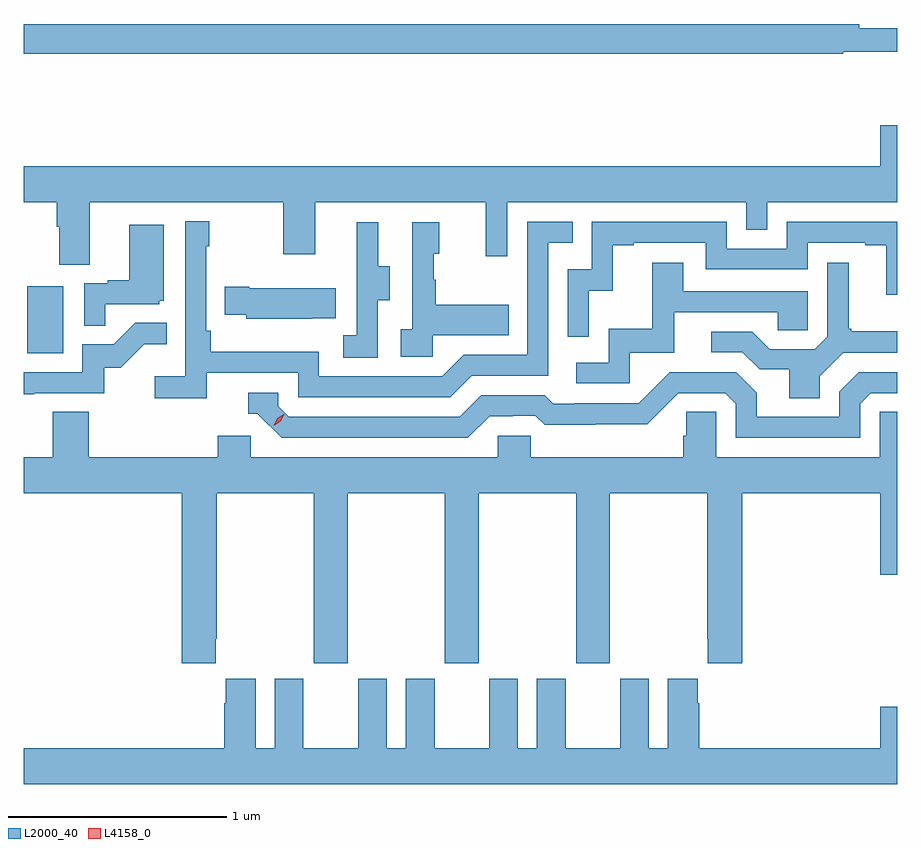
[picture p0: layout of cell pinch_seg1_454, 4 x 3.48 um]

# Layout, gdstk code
import gdstk
lib = gdstk.Library(unit=1e-6, precision=1e-09)
def R(c, l, rs):  # rectangles x0, y0, x1, y1
    for r in rs: c.add(gdstk.rectangle(r[:2], r[2:], *l))
def P(c, l, *ps):  # polygons
    for p in ps: c.add(gdstk.Polygon(p, *l))
L2000_40 = (2000, 40)
L4158_0 = (4158, 0)

pinch_seg1_454 = lib.new_cell('pinch_seg1_454')
R(pinch_seg1_454, L2000_40, [(988.274,512.412,988.438,512.719)])
P(pinch_seg1_454, L2000_40, [(992.011,513.792),(992.258,513.792),(992.258,513.901),(992.084,513.901),(992.084,513.92),(988.258,513.92),(988.258,513.784),(992.011,513.784)],
  [(988.561,513.104),(989.446,513.104),(989.446,512.865),(989.593,512.865),(989.593,513.104),(990.374,513.104),(990.374,512.856),(990.471,512.856),(990.471,513.104),(991.566,513.104),(991.566,512.977),(991.662,512.977),(991.662,513.104),(992.258,513.104),(992.258,513.457),(992.18,513.457),(992.18,513.268),(988.258,513.268),(988.258,513.104),(988.409,513.104),(988.409,512.992),(988.421,512.992),(988.421,512.818),(988.561,512.818)],
  [(989.096,512.322),(989.514,512.322),(989.514,512.211),(990.211,512.211),(990.31,512.31),(990.66,512.31),(990.66,512.919),(990.773,512.919),(990.773,513.015),(990.564,513.015),(990.564,512.406),(990.273,512.406),(990.174,512.307),(989.61,512.307),(989.61,512.419),(989.114,512.419),(989.114,512.515),(989.094,512.515),(989.094,512.903),(989.107,512.903),(989.107,513.016),(988.998,513.016),(988.998,512.308),(988.857,512.308),(988.857,512.206),(989.096,512.206)],
  [(990.846,512.699),(990.956,512.699),(990.956,512.907),(991.051,512.907),(991.051,512.919),(991.38,512.919),(991.38,512.796),(991.848,512.796),(991.848,512.919),(992.111,512.919),(992.111,512.907),(992.207,512.907),(992.207,512.681),(992.258,512.681),(992.258,513.015),(991.752,513.015),(991.752,512.892),(991.476,512.892),(991.476,513.015),(990.858,513.015),(990.858,512.796),(990.75,512.796),(990.75,512.487),(990.846,512.487)],
  [(990.132,512.495),(990.479,512.495),(990.479,512.635),(990.145,512.635),(990.145,512.75),(990.135,512.75),(990.135,512.868),(990.16,512.868),(990.16,513.013),(990.036,513.013),(990.036,512.522),(989.985,512.522),(989.985,512.397),(990.132,512.397)],
  [(989.88,512.656),(989.935,512.656),(989.935,512.811),(989.881,512.811),(989.881,513.013),(989.783,513.013),(989.783,512.799),(989.784,512.799),(989.784,512.495),(989.721,512.495),(989.721,512.392),(989.88,512.392)],
  [(988.631,512.637),(988.878,512.637),(988.878,512.652),(988.9,512.652),(988.9,513.001),(988.742,513.001),(988.742,512.746),(988.643,512.746),(988.643,512.733),(988.536,512.733),(988.536,512.539),(988.631,512.539)],
  [(991.032,512.415),(991.237,512.415),(991.237,512.601),(991.711,512.601),(991.711,512.517),(991.848,512.517),(991.848,512.697),(991.279,512.697),(991.279,512.827),(991.135,512.827),(991.135,512.524),(990.936,512.524),(990.936,512.37),(990.789,512.37),(990.789,512.274),(991.032,512.274)],
  [(991.903,512.308),(992.01,512.415),(992.258,512.415),(992.258,512.512),(992.047,512.512),(992.047,512.524),(992.035,512.524),(992.035,512.827),(991.938,512.827),(991.938,512.487),(991.881,512.43),(991.675,512.43),(991.594,512.511),(991.407,512.511),(991.407,512.418),(991.548,512.418),(991.628,512.338),(991.763,512.338),(991.763,512.206),(991.903,512.206)],
  [(989.579,512.573),(989.687,512.573),(989.687,512.71),(989.29,512.71),(989.29,512.718),(989.179,512.718),(989.179,512.588),(989.277,512.588),(989.277,512.57),(989.579,512.57)],
  [(988.307,512.229),(988.626,512.229),(988.626,512.346),(988.702,512.346),(988.809,512.453),(988.913,512.453),(988.913,512.552),(988.769,512.552),(988.671,512.454),(988.527,512.454),(988.527,512.325),(988.258,512.325),(988.258,512.224),(988.307,512.224)],
  [(990.391,512.124),(990.498,512.124),(990.498,512.127),(990.601,512.127),(990.643,512.085),(990.876,512.085),(990.876,512.087),(991.112,512.087),(991.254,512.229),(991.47,512.229),(991.518,512.181),(991.518,512.025),(992.088,512.025),(992.088,512.181),(992.136,512.229),(992.258,512.229),(992.258,512.325),(992.082,512.325),(991.992,512.235),(991.992,512.121),(991.615,512.121),(991.615,512.231),(991.521,512.325),(991.215,512.325),(991.074,512.184),(990.781,512.184),(990.781,512.181),(990.682,512.181),(990.643,512.22),(990.354,512.22),(990.255,512.121),(989.472,512.121),(989.424,512.169),(989.424,512.232),(989.285,512.232),(989.285,512.136),(989.328,512.136),(989.439,512.025),(990.292,512.025)],
  [(989.137,511.105),(989.142,511.105),(989.142,511.772),(989.587,511.772),(989.587,510.993),(989.742,510.993),(989.742,511.772),(990.187,511.772),(990.187,510.993),(990.342,510.993),(990.342,511.772),(990.787,511.772),(990.787,510.993),(990.942,510.993),(990.942,511.772),(991.387,511.772),(991.387,511.105),(991.391,511.105),(991.391,510.993),(991.547,510.993),(991.547,511.772),(992.18,511.772),(992.18,511.398),(992.258,511.398),(992.258,512.144),(992.178,512.144),(992.178,511.936),(991.428,511.936),(991.428,512.144),(991.291,512.144),(991.291,512.034),(991.277,512.034),(991.277,511.936),(990.579,511.936),(990.579,512.034),(990.429,512.034),(990.429,511.936),(989.298,511.936),(989.298,512.034),(989.147,512.034),(989.147,511.936),(988.556,511.936),(988.556,512.144),(988.391,512.144),(988.391,511.936),(988.258,511.936),(988.258,511.772),(988.982,511.772),(988.982,510.993),(989.137,510.993)],
  [(992.258,510.793),(992.18,510.793),(992.18,510.604),(991.352,510.604),(991.352,510.809),(991.345,510.809),(991.345,510.922),(991.208,510.922),(991.208,510.604),(991.12,510.604),(991.12,510.922),(990.989,510.922),(990.989,510.604),(990.739,510.604),(990.739,510.922),(990.608,510.922),(990.608,510.604),(990.52,510.604),(990.52,510.922),(990.389,510.922),(990.389,510.604),(990.139,510.604),(990.139,510.922),(990.008,510.922),(990.008,510.604),(989.92,510.604),(989.92,510.922),(989.789,510.922),(989.789,510.604),(989.539,510.604),(989.539,510.922),(989.408,510.922),(989.408,510.604),(989.32,510.604),(989.32,510.922),(989.183,510.922),(989.183,510.809),(989.177,510.809),(989.177,510.604),(988.258,510.604),(988.258,510.44),(992.258,510.44)])
P(pinch_seg1_454, L4158_0, [(989.403,512.08),(989.403,512.081),(989.419,512.114),(989.449,512.134),(989.45,512.134),(989.45,512.133),(989.434,512.1),(989.404,512.08)])

lib.write_gds('pinch_seg1_454.gds')
